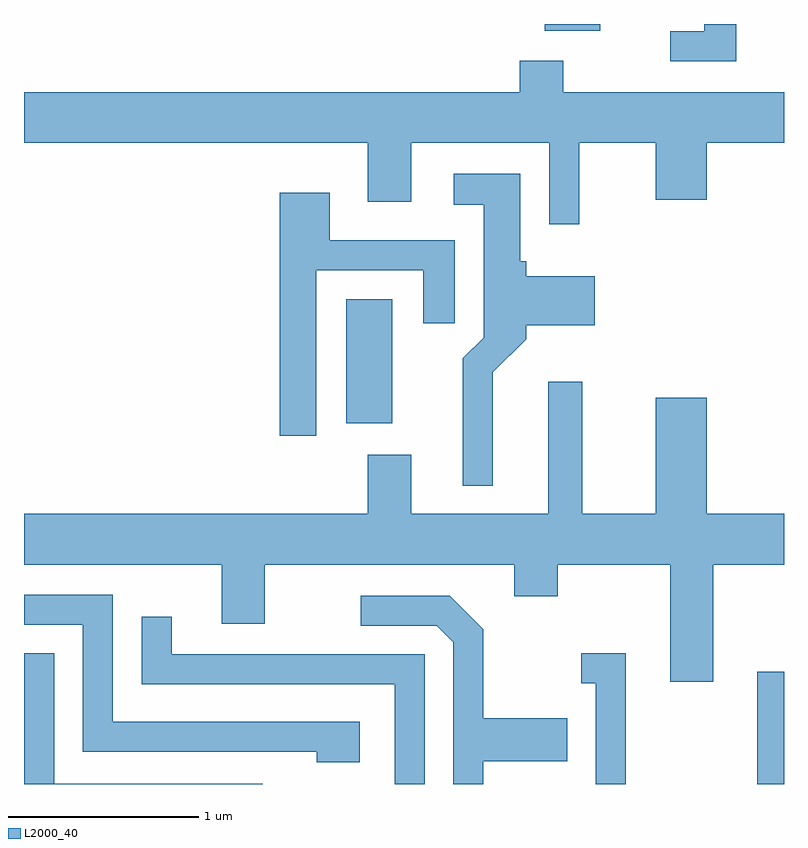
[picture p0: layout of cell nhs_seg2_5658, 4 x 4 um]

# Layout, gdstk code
import gdstk
lib = gdstk.Library(unit=1e-6, precision=1e-09)
def R(c, l, rs):  # rectangles x0, y0, x1, y1
    for r in rs: c.add(gdstk.rectangle(r[:2], r[2:], *l))
def P(c, l, *ps):  # polygons
    for p in ps: c.add(gdstk.Polygon(p, *l))
L2000_40 = (2000, 40)

nhs_seg2_5658 = lib.new_cell('nhs_seg2_5658')
R(nhs_seg2_5658, L2000_40, [(355.471,1073.802,355.611,1074.394), (353.306,1075.701,353.549,1076.354), (354.351,1077.766,354.644,1077.802)])
P(nhs_seg2_5658, L2000_40, [(355.359,1077.802),(355.191,1077.802),(355.191,1077.764),(355.013,1077.764),(355.013,1077.606),(355.359,1077.606)],
  [(354.534,1077.176),(354.936,1077.176),(354.936,1076.876),(355.204,1076.876),(355.204,1077.176),(355.611,1077.176),(355.611,1077.444),(354.449,1077.444),(354.449,1077.609),(354.221,1077.609),(354.221,1077.444),(351.611,1077.444),(351.611,1077.176),(353.421,1077.176),(353.421,1076.866),(353.649,1076.866),(353.649,1077.176),(354.376,1077.176),(354.376,1076.748),(354.534,1076.748)],
  [(354.079,1075.969),(354.254,1076.144),(354.254,1076.216),(354.614,1076.216),(354.614,1076.474),(354.254,1076.474),(354.254,1076.554),(354.224,1076.554),(354.224,1077.014),(353.873,1077.014),(353.873,1076.851),(354.031,1076.851),(354.031,1076.152),(353.921,1076.042),(353.921,1075.373),(354.079,1075.373)],
  [(353.149,1076.506),(353.711,1076.506),(353.711,1076.228),(353.879,1076.228),(353.879,1076.664),(353.219,1076.664),(353.219,1076.914),(352.956,1076.914),(352.956,1075.636),(353.149,1075.636)],
  [(355.239,1074.956),(355.611,1074.956),(355.611,1075.224),(355.204,1075.224),(355.204,1075.834),(354.936,1075.834),(354.936,1075.224),(354.549,1075.224),(354.549,1075.919),(354.371,1075.919),(354.371,1075.224),(353.649,1075.224),(353.649,1075.534),(353.421,1075.534),(353.421,1075.224),(351.611,1075.224),(351.611,1074.956),(352.651,1074.956),(352.651,1074.646),(352.879,1074.646),(352.879,1074.956),(354.191,1074.956),(354.191,1074.791),(354.419,1074.791),(354.419,1074.956),(355.011,1074.956),(355.011,1074.341),(355.239,1074.341)],
  [(353.379,1074.129),(352.079,1074.129),(352.079,1074.799),(351.611,1074.799),(351.611,1074.641),(351.921,1074.641),(351.921,1073.971),(353.151,1073.971),(353.151,1073.916),(353.379,1073.916)],
  [(354.029,1073.921),(354.469,1073.921),(354.469,1074.149),(354.029,1074.149),(354.029,1074.617),(353.852,1074.794),(353.383,1074.794),(353.383,1074.636),(353.784,1074.636),(353.871,1074.549),(353.871,1073.802),(354.029,1073.802)],
  [(353.719,1074.484),(352.389,1074.484),(352.389,1074.683),(352.231,1074.683),(352.231,1074.326),(353.561,1074.326),(353.561,1073.802),(353.719,1073.802)],
  [(352.868,1073.804),(351.769,1073.804),(351.769,1074.489),(351.611,1074.489),(351.611,1073.802),(352.868,1073.802)],
  [(354.779,1074.489),(354.543,1074.489),(354.543,1074.331),(354.621,1074.331),(354.621,1073.802),(354.779,1073.802)])

lib.write_gds('nhs_seg2_5658.gds')
